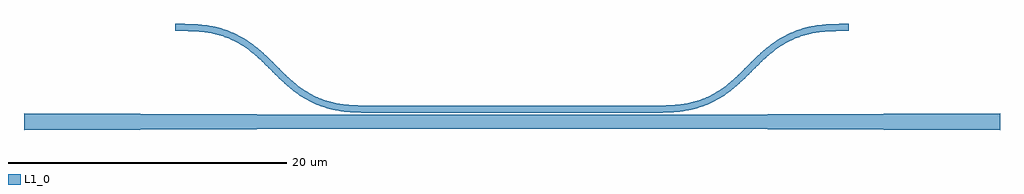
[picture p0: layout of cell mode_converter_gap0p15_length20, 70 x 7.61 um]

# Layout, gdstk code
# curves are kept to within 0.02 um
from math import pi, radians
import gdstk
lib = gdstk.Library(unit=1e-6, precision=1e-09)
def R(c, l, rs):  # rectangles x0, y0, x1, y1
    for r in rs: c.add(gdstk.rectangle(r[:2], r[2:], *l))
def P(c, l, *ps):  # polygons
    for p in ps: c.add(gdstk.Polygon(p, *l))
L1_0 = (1, 0)

bend_euler_angle45 = lib.new_cell('bend_euler_angle45')
P(bend_euler_angle45, L1_0, [(0,-0.25),(1.339,-0.228),(2.286,-0.141),(3.139,0.032),(4.007,0.327),(4.829,0.732),(5.554,1.212),(6.286,1.821),(7.248,2.752),(6.894,3.106),(5.95,2.192),(5.254,1.613),(4.579,1.165),(3.815,0.789),(3.009,0.515),(2.216,0.354),(1.314,0.271),(0,0.25)])

bend_euler_s_angle45 = lib.new_cell('bend_euler_s_angle45')
bend_euler_s_angle45.add(gdstk.Reference(bend_euler_angle45, (0,0)))
bend_euler_s_angle45.add(gdstk.Reference(bend_euler_angle45, (7.071,2.929), rotation=radians(45), x_reflection=True))

mode_converter_gap0p15_l = lib.new_cell('mode_converter_gap0p15_length20')
R(mode_converter_gap0p15_l, L1_0, [(0,-0.5,20,0.5), (0,0.65,20,1.15)])
P(mode_converter_gap0p15_l, L1_0, [(0,-0.5),(-25,-0.6),(-25,0.6),(0,0.5)],
  [(20,0.5),(45,0.6),(45,-0.6),(20,-0.5)])
mode_converter_gap0p15_l.add(gdstk.Reference(bend_euler_s_angle45, (20,0.9)))
mode_converter_gap0p15_l.add(gdstk.Reference(bend_euler_s_angle45, (0,0.9), rotation=pi, x_reflection=True))

lib.write_gds('mode_converter_gap0p15_length20.gds')
